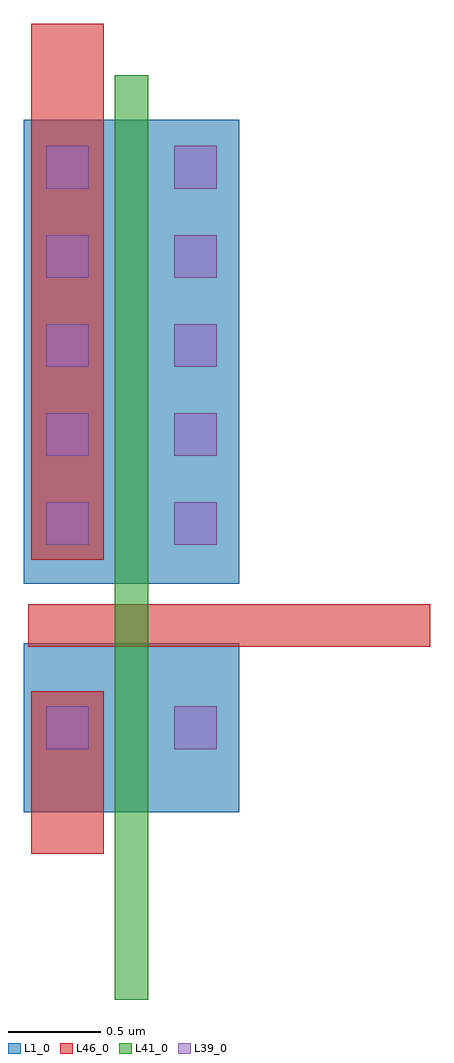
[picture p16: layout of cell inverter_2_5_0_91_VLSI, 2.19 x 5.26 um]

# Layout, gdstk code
import gdstk
lib = gdstk.Library(unit=1e-6, precision=1e-09)
def R(c, l, rs):  # rectangles x0, y0, x1, y1
    for r in rs: c.add(gdstk.rectangle(r[:2], r[2:], *l))
def A(c, l, x, y, w, h, nx, ny, dx, dy):  # array of equal rectangles
    R(c, l, [(x+i*dx, y+j*dy, x+i*dx+w, y+j*dy+h) for i in range(nx) for j in range(ny)])
L1_0 = (1, 0)
L39_0 = (39, 0)
L41_0 = (41, 0)
L46_0 = (46, 0)

inverter_2_5_0_91_vlsi = lib.new_cell('inverter_2_5_0_91_VLSI')
R(inverter_2_5_0_91_vlsi, L1_0, [(0.855,-0.365,2.015,0.545), (0.855,0.865,2.015,3.365)])
A(inverter_2_5_0_91_vlsi, L39_0, 0.975, 1.075, 0.23, 0.23, 1, 5, 0, 0.48)
A(inverter_2_5_0_91_vlsi, L39_0, 1.665, 1.075, 0.23, 0.23, 1, 5, 0, 0.48)
R(inverter_2_5_0_91_vlsi, L39_0, [(0.975,-0.025,1.205,0.205), (1.665,-0.025,1.895,0.205)])
R(inverter_2_5_0_91_vlsi, L41_0, [(1.345,-1.375,1.525,3.605)])
R(inverter_2_5_0_91_vlsi, L46_0, [(0.895,-0.59,1.285,0.285), (0.88,0.525,3.045,0.755), (0.895,0.995,1.285,3.885)])

lib.write_gds('inverter_2_5_0_91_VLSI.gds')
